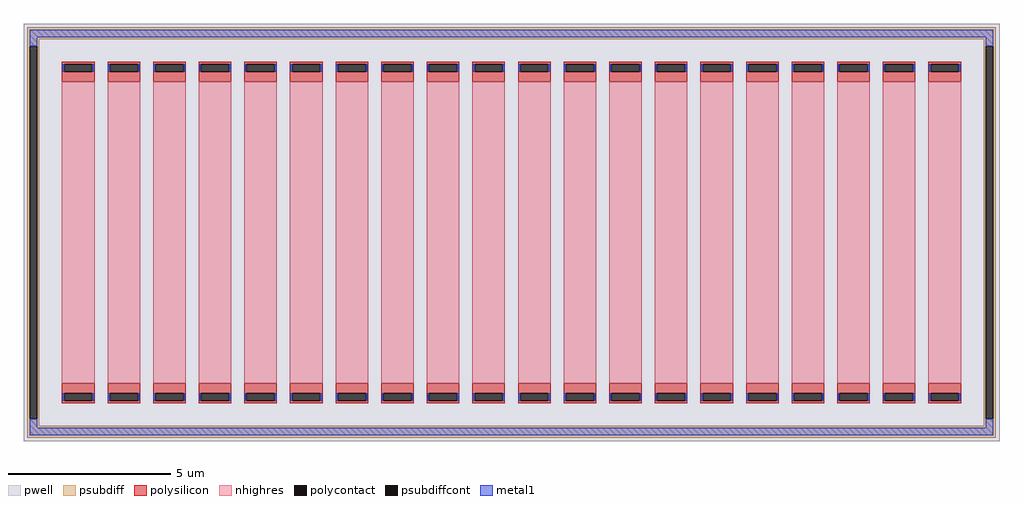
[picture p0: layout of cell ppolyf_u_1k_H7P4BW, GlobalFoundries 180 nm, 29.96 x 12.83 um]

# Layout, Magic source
magic
tech gf180mcuD
magscale 1 10
<< pwell >>
rect -2996 -1283 2996 1283
<< psubdiff >>
rect -2972 1187 2972 1259
rect -2972 1143 -2900 1187
rect -2972 -1143 -2959 1143
rect -2913 -1143 -2900 1143
rect 2900 1143 2972 1187
rect -2972 -1187 -2900 -1143
rect 2900 -1143 2913 1143
rect 2959 -1143 2972 1143
rect 2900 -1187 2972 -1143
rect -2972 -1259 2972 -1187
<< psubdiffcont >>
rect -2959 -1143 -2913 1143
rect 2913 -1143 2959 1143
<< polysilicon >>
rect -2760 1034 -2560 1047
rect -2760 988 -2747 1034
rect -2573 988 -2560 1034
rect -2760 925 -2560 988
rect -2760 -988 -2560 -925
rect -2760 -1034 -2747 -988
rect -2573 -1034 -2560 -988
rect -2760 -1047 -2560 -1034
rect -2480 1034 -2280 1047
rect -2480 988 -2467 1034
rect -2293 988 -2280 1034
rect -2480 925 -2280 988
rect -2480 -988 -2280 -925
rect -2480 -1034 -2467 -988
rect -2293 -1034 -2280 -988
rect -2480 -1047 -2280 -1034
rect -2200 1034 -2000 1047
rect -2200 988 -2187 1034
rect -2013 988 -2000 1034
rect -2200 925 -2000 988
rect -2200 -988 -2000 -925
rect -2200 -1034 -2187 -988
rect -2013 -1034 -2000 -988
rect -2200 -1047 -2000 -1034
rect -1920 1034 -1720 1047
rect -1920 988 -1907 1034
rect -1733 988 -1720 1034
rect -1920 925 -1720 988
rect -1920 -988 -1720 -925
rect -1920 -1034 -1907 -988
rect -1733 -1034 -1720 -988
rect -1920 -1047 -1720 -1034
rect -1640 1034 -1440 1047
rect -1640 988 -1627 1034
rect -1453 988 -1440 1034
rect -1640 925 -1440 988
rect -1640 -988 -1440 -925
rect -1640 -1034 -1627 -988
rect -1453 -1034 -1440 -988
rect -1640 -1047 -1440 -1034
rect -1360 1034 -1160 1047
rect -1360 988 -1347 1034
rect -1173 988 -1160 1034
rect -1360 925 -1160 988
rect -1360 -988 -1160 -925
rect -1360 -1034 -1347 -988
rect -1173 -1034 -1160 -988
rect -1360 -1047 -1160 -1034
rect -1080 1034 -880 1047
rect -1080 988 -1067 1034
rect -893 988 -880 1034
rect -1080 925 -880 988
rect -1080 -988 -880 -925
rect -1080 -1034 -1067 -988
rect -893 -1034 -880 -988
rect -1080 -1047 -880 -1034
rect -800 1034 -600 1047
rect -800 988 -787 1034
rect -613 988 -600 1034
rect -800 925 -600 988
rect -800 -988 -600 -925
rect -800 -1034 -787 -988
rect -613 -1034 -600 -988
rect -800 -1047 -600 -1034
rect -520 1034 -320 1047
rect -520 988 -507 1034
rect -333 988 -320 1034
rect -520 925 -320 988
rect -520 -988 -320 -925
rect -520 -1034 -507 -988
rect -333 -1034 -320 -988
rect -520 -1047 -320 -1034
rect -240 1034 -40 1047
rect -240 988 -227 1034
rect -53 988 -40 1034
rect -240 925 -40 988
rect -240 -988 -40 -925
rect -240 -1034 -227 -988
rect -53 -1034 -40 -988
rect -240 -1047 -40 -1034
rect 40 1034 240 1047
rect 40 988 53 1034
rect 227 988 240 1034
rect 40 925 240 988
rect 40 -988 240 -925
rect 40 -1034 53 -988
rect 227 -1034 240 -988
rect 40 -1047 240 -1034
rect 320 1034 520 1047
rect 320 988 333 1034
rect 507 988 520 1034
rect 320 925 520 988
rect 320 -988 520 -925
rect 320 -1034 333 -988
rect 507 -1034 520 -988
rect 320 -1047 520 -1034
rect 600 1034 800 1047
rect 600 988 613 1034
rect 787 988 800 1034
rect 600 925 800 988
rect 600 -988 800 -925
rect 600 -1034 613 -988
rect 787 -1034 800 -988
rect 600 -1047 800 -1034
rect 880 1034 1080 1047
rect 880 988 893 1034
rect 1067 988 1080 1034
rect 880 925 1080 988
rect 880 -988 1080 -925
rect 880 -1034 893 -988
rect 1067 -1034 1080 -988
rect 880 -1047 1080 -1034
rect 1160 1034 1360 1047
rect 1160 988 1173 1034
rect 1347 988 1360 1034
rect 1160 925 1360 988
rect 1160 -988 1360 -925
rect 1160 -1034 1173 -988
rect 1347 -1034 1360 -988
rect 1160 -1047 1360 -1034
rect 1440 1034 1640 1047
rect 1440 988 1453 1034
rect 1627 988 1640 1034
rect 1440 925 1640 988
rect 1440 -988 1640 -925
rect 1440 -1034 1453 -988
rect 1627 -1034 1640 -988
rect 1440 -1047 1640 -1034
rect 1720 1034 1920 1047
rect 1720 988 1733 1034
rect 1907 988 1920 1034
rect 1720 925 1920 988
rect 1720 -988 1920 -925
rect 1720 -1034 1733 -988
rect 1907 -1034 1920 -988
rect 1720 -1047 1920 -1034
rect 2000 1034 2200 1047
rect 2000 988 2013 1034
rect 2187 988 2200 1034
rect 2000 925 2200 988
rect 2000 -988 2200 -925
rect 2000 -1034 2013 -988
rect 2187 -1034 2200 -988
rect 2000 -1047 2200 -1034
rect 2280 1034 2480 1047
rect 2280 988 2293 1034
rect 2467 988 2480 1034
rect 2280 925 2480 988
rect 2280 -988 2480 -925
rect 2280 -1034 2293 -988
rect 2467 -1034 2480 -988
rect 2280 -1047 2480 -1034
rect 2560 1034 2760 1047
rect 2560 988 2573 1034
rect 2747 988 2760 1034
rect 2560 925 2760 988
rect 2560 -988 2760 -925
rect 2560 -1034 2573 -988
rect 2747 -1034 2760 -988
rect 2560 -1047 2760 -1034
<< polycontact >>
rect -2747 988 -2573 1034
rect -2747 -1034 -2573 -988
rect -2467 988 -2293 1034
rect -2467 -1034 -2293 -988
rect -2187 988 -2013 1034
rect -2187 -1034 -2013 -988
rect -1907 988 -1733 1034
rect -1907 -1034 -1733 -988
rect -1627 988 -1453 1034
rect -1627 -1034 -1453 -988
rect -1347 988 -1173 1034
rect -1347 -1034 -1173 -988
rect -1067 988 -893 1034
rect -1067 -1034 -893 -988
rect -787 988 -613 1034
rect -787 -1034 -613 -988
rect -507 988 -333 1034
rect -507 -1034 -333 -988
rect -227 988 -53 1034
rect -227 -1034 -53 -988
rect 53 988 227 1034
rect 53 -1034 227 -988
rect 333 988 507 1034
rect 333 -1034 507 -988
rect 613 988 787 1034
rect 613 -1034 787 -988
rect 893 988 1067 1034
rect 893 -1034 1067 -988
rect 1173 988 1347 1034
rect 1173 -1034 1347 -988
rect 1453 988 1627 1034
rect 1453 -1034 1627 -988
rect 1733 988 1907 1034
rect 1733 -1034 1907 -988
rect 2013 988 2187 1034
rect 2013 -1034 2187 -988
rect 2293 988 2467 1034
rect 2293 -1034 2467 -988
rect 2573 988 2747 1034
rect 2573 -1034 2747 -988
<< nhighres >>
rect -2760 -925 -2560 925
rect -2480 -925 -2280 925
rect -2200 -925 -2000 925
rect -1920 -925 -1720 925
rect -1640 -925 -1440 925
rect -1360 -925 -1160 925
rect -1080 -925 -880 925
rect -800 -925 -600 925
rect -520 -925 -320 925
rect -240 -925 -40 925
rect 40 -925 240 925
rect 320 -925 520 925
rect 600 -925 800 925
rect 880 -925 1080 925
rect 1160 -925 1360 925
rect 1440 -925 1640 925
rect 1720 -925 1920 925
rect 2000 -925 2200 925
rect 2280 -925 2480 925
rect 2560 -925 2760 925
<< metal1 >>
rect -2959 1200 2959 1246
rect -2959 1143 -2913 1200
rect 2913 1143 2959 1200
rect -2758 988 -2747 1034
rect -2573 988 -2562 1034
rect -2478 988 -2467 1034
rect -2293 988 -2282 1034
rect -2198 988 -2187 1034
rect -2013 988 -2002 1034
rect -1918 988 -1907 1034
rect -1733 988 -1722 1034
rect -1638 988 -1627 1034
rect -1453 988 -1442 1034
rect -1358 988 -1347 1034
rect -1173 988 -1162 1034
rect -1078 988 -1067 1034
rect -893 988 -882 1034
rect -798 988 -787 1034
rect -613 988 -602 1034
rect -518 988 -507 1034
rect -333 988 -322 1034
rect -238 988 -227 1034
rect -53 988 -42 1034
rect 42 988 53 1034
rect 227 988 238 1034
rect 322 988 333 1034
rect 507 988 518 1034
rect 602 988 613 1034
rect 787 988 798 1034
rect 882 988 893 1034
rect 1067 988 1078 1034
rect 1162 988 1173 1034
rect 1347 988 1358 1034
rect 1442 988 1453 1034
rect 1627 988 1638 1034
rect 1722 988 1733 1034
rect 1907 988 1918 1034
rect 2002 988 2013 1034
rect 2187 988 2198 1034
rect 2282 988 2293 1034
rect 2467 988 2478 1034
rect 2562 988 2573 1034
rect 2747 988 2758 1034
rect -2758 -1034 -2747 -988
rect -2573 -1034 -2562 -988
rect -2478 -1034 -2467 -988
rect -2293 -1034 -2282 -988
rect -2198 -1034 -2187 -988
rect -2013 -1034 -2002 -988
rect -1918 -1034 -1907 -988
rect -1733 -1034 -1722 -988
rect -1638 -1034 -1627 -988
rect -1453 -1034 -1442 -988
rect -1358 -1034 -1347 -988
rect -1173 -1034 -1162 -988
rect -1078 -1034 -1067 -988
rect -893 -1034 -882 -988
rect -798 -1034 -787 -988
rect -613 -1034 -602 -988
rect -518 -1034 -507 -988
rect -333 -1034 -322 -988
rect -238 -1034 -227 -988
rect -53 -1034 -42 -988
rect 42 -1034 53 -988
rect 227 -1034 238 -988
rect 322 -1034 333 -988
rect 507 -1034 518 -988
rect 602 -1034 613 -988
rect 787 -1034 798 -988
rect 882 -1034 893 -988
rect 1067 -1034 1078 -988
rect 1162 -1034 1173 -988
rect 1347 -1034 1358 -988
rect 1442 -1034 1453 -988
rect 1627 -1034 1638 -988
rect 1722 -1034 1733 -988
rect 1907 -1034 1918 -988
rect 2002 -1034 2013 -988
rect 2187 -1034 2198 -988
rect 2282 -1034 2293 -988
rect 2467 -1034 2478 -988
rect 2562 -1034 2573 -988
rect 2747 -1034 2758 -988
rect -2959 -1200 -2913 -1143
rect 2913 -1200 2959 -1143
rect -2959 -1246 2959 -1200
<< properties >>
string FIXED_BBOX -2936 -1223 2936 1223
string gencell ppolyf_u_1k
string library gf180mcu
string parameters w 1.000 l 9.25 m 1 nx 20 wmin 1.000 lmin 1.000 class resistor rho 1000 val 9.25k dummy 0 dw 0.0 term 0.0 sterm 0.0 caplen 0.4 snake 0 glc 1 grc 1 gtc 0 gbc 0 roverlap 0 endcov 100 full_metal 1 compatible {ppolyf_u_1k ppolyf_u_1k_6p0}
<< end >>
